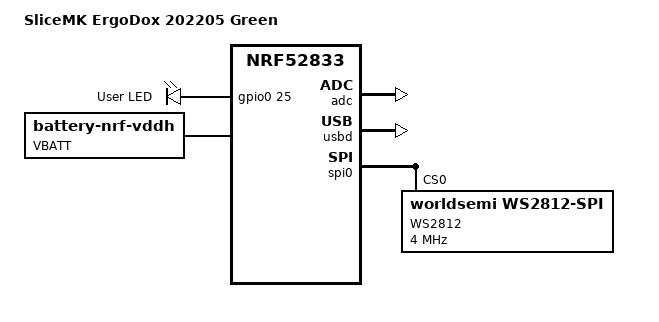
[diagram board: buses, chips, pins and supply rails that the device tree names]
/dts-v1/;
#include <nordic/nrf52833_qiaa.dtsi>

#include <dt-bindings/led/led.h>

/ {
	model = "SliceMK ErgoDox 202205 Green";

	chosen {
		zephyr,sram = &sram0;
		zephyr,flash = &flash0;
		zephyr,code-partition = &code_partition;
		zephyr,console = &cdc_acm_uart;

		zmk,battery = &vbatt;
		zmk,underglow = &led_strip;
	};

	leds {
		compatible = "gpio-leds";
		led0: led0 {
			gpios = <&gpio0 25 GPIO_ACTIVE_HIGH>;
			label = "User LED";
		};
	};

	// Use VDDHDIV5 for battery voltage.
	vbatt: vbatt {
		compatible = "zmk,battery-nrf-vddh";
		label = "VBATT";
	};
};

&adc {
	status = "okay";
};

&gpiote {
	status = "okay";
};

&gpio0 {
	status = "okay";
};

&gpio1 {
	status = "okay";
};

&usbd {
	status = "okay";
	cdc_acm_uart: cdc_acm_uart {
		compatible = "zephyr,cdc-acm-uart";
		label = "CDC_ACM_0";
	};
};

&flash0 {
	partitions {
		compatible = "fixed-partitions";
		#address-cells = <1>;
		#size-cells = <1>;

		code_partition: partition@1000 {
			label = "code_partition";
			reg = <0x00001000 0x0006c000>;
		};

		storage_partition: partition@6d000 {
			label = "storage";
			reg = <0x0006d000 0x00007000>;
		};
	};
};

&spi0 {
	compatible = "nordic,nrf-spim";
	status = "okay";

	led_strip: ws2812@0 {
		compatible = "worldsemi,ws2812-spi";
		label = "WS2812";

		reg = <0>;
		spi-max-frequency = <4000000>;

		chain-length = <10>;
		color-mapping = <LED_COLOR_ID_GREEN LED_COLOR_ID_RED LED_COLOR_ID_BLUE>;
		spi-one-frame = <0x70>;
		spi-zero-frame = <0x40>;
	};
};
